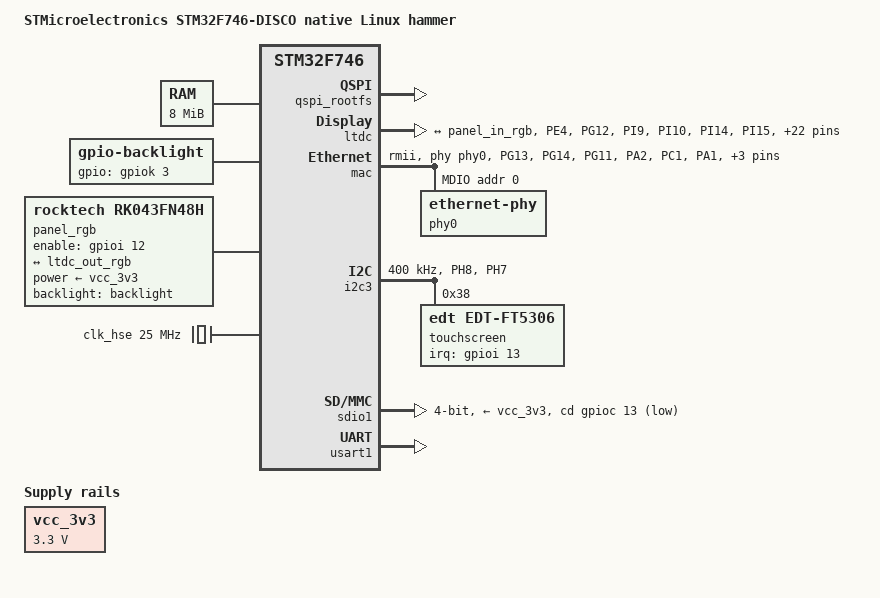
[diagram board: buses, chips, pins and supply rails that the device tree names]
// SPDX-License-Identifier: (GPL-2.0+ OR BSD-3-Clause)
/* Native-Linux hammer device tree for the STM32F746G-DISCO. */

/dts-v1/;
#include "stm32f746.dtsi"
#include "stm32f746-pinctrl.dtsi"
#include <dt-bindings/gpio/gpio.h>
#include <dt-bindings/input/input.h>
#include <dt-bindings/interrupt-controller/irq.h>

/ {
	model = "STMicroelectronics STM32F746-DISCO native Linux hammer";
	compatible = "st,stm32f746-disco", "st,stm32f746";

	chosen {
		stdout-path = "serial0:115200n8";
	};

	memory@c0000000 {
		device_type = "memory";
		reg = <0xc0000000 0x00800000>;
	};

	reserved-memory {
		#address-cells = <1>;
		#size-cells = <1>;
		ranges;

		/*
		 * DRM fbdev consumes two RGB565 scanout buffers from the default
		 * coherent pool.  A power-of-two-aligned 1 MiB pool leaves an
		 * MPU-friendly 7 MiB normal-RAM span while providing space for stmmac
		 * descriptor rings and other coherent allocations.
		 */
		dma_pool: dma-pool@c0700000 {
			compatible = "shared-dma-pool";
			reg = <0xc0700000 0x00100000>;
			no-map;
			linux,dma-default;
		};
	};

	aliases {
		serial0 = &usart1;
		ethernet0 = &mac;
	};

	vcc_3v3: regulator-vcc-3v3 {
		compatible = "regulator-fixed";
		regulator-name = "vcc_3v3";
		regulator-min-microvolt = <3300000>;
		regulator-max-microvolt = <3300000>;
		regulator-always-on;
	};

	backlight: backlight {
		compatible = "gpio-backlight";
		gpios = <&gpiok 3 GPIO_ACTIVE_HIGH>;
		default-on;
	};

	panel_rgb: panel-rgb {
		compatible = "rocktech,rk043fn48h";
		power-supply = <&vcc_3v3>;
		backlight = <&backlight>;
		enable-gpios = <&gpioi 12 GPIO_ACTIVE_HIGH>;

		port {
			panel_in_rgb: endpoint {
				remote-endpoint = <&ltdc_out_rgb>;
			};
		};
	};

	soc {
		qspi_rootfs: rom@90800000 {
			compatible = "mtd-rom";
			reg = <0x90800000 0x00400000>;
			bank-width = <1>;
			linux,mtd-name = "rootfs";
			no-unaligned-direct-access;
		};

		ltdc: display-controller@40016800 {
			compatible = "st,stm32-ltdc";
			reg = <0x40016800 0x200>;
			interrupts = <88>, <89>;
			resets = <&rcc STM32F7_APB2_RESET(LTDC)>;
			clocks = <&rcc 1 CLK_LCD>;
			clock-names = "lcd";
			status = "disabled";
		};

		mac: ethernet@40028000 {
			compatible = "st,stm32-dwmac", "snps,dwmac-3.50a";
			reg = <0x40028000 0x8000>;
			reg-names = "stmmaceth";
			/* The STM32F7 NVIC wake line cannot be shared by stmmac. */
			interrupts = <61>;
			interrupt-names = "macirq";
			clocks = <&rcc 0 STM32F7_AHB1_CLOCK(ETHMAC)>,
				 <&rcc 0 STM32F7_AHB1_CLOCK(ETHMACTX)>,
				 <&rcc 0 STM32F7_AHB1_CLOCK(ETHMACRX)>;
			clock-names = "stmmaceth", "mac-clk-tx", "mac-clk-rx";
			st,syscon = <&syscfg 0x4>;
			snps,pbl = <8>;
			snps,mixed-burst;
			pinctrl-0 = <&ethernet_rmii_pins_a>;
			pinctrl-names = "default";
			phy-mode = "rmii";
			phy-handle = <&phy0>;
			status = "okay";

			mdio {
				#address-cells = <1>;
				#size-cells = <0>;
				compatible = "snps,dwmac-mdio";

				phy0: ethernet-phy@0 {
					reg = <0>;
				};
			};
		};
	};
};

&clk_hse {
	clock-frequency = <25000000>;
};

&pinctrl {
	i2c3_pins_a: i2c3-0 {
		pins {
			pinmux = <STM32_PINMUX('H', 8, AF4)>, /* I2C3 SDA */
				 <STM32_PINMUX('H', 7, AF4)>; /* I2C3 SCL */
			bias-disable;
			drive-open-drain;
			slew-rate = <0>;
		};
	};

	ethernet_rmii_pins_a: ethernet-rmii-0 {
		pins {
			pinmux = <STM32_PINMUX('G', 13, AF11)>, /* RMII TXD0 */
				 <STM32_PINMUX('G', 14, AF11)>, /* RMII TXD1 */
				 <STM32_PINMUX('G', 11, AF11)>, /* RMII TX EN */
				 <STM32_PINMUX('A', 2, AF11)>,  /* MDIO */
				 <STM32_PINMUX('C', 1, AF11)>,  /* MDC */
				 <STM32_PINMUX('A', 1, AF11)>,  /* RMII REF CLK */
				 <STM32_PINMUX('A', 7, AF11)>,  /* RMII CRS DV */
				 <STM32_PINMUX('C', 4, AF11)>,  /* RMII RXD0 */
				 <STM32_PINMUX('C', 5, AF11)>;  /* RMII RXD1 */
			slew-rate = <2>;
		};
	};

	ltdc_pins_a: ltdc-0 {
		pins {
			pinmux = <STM32_PINMUX('E', 4, AF14)>,
				 <STM32_PINMUX('G', 12, AF9)>,
				 <STM32_PINMUX('I', 9, AF14)>,
				 <STM32_PINMUX('I', 10, AF14)>,
				 <STM32_PINMUX('I', 14, AF14)>,
				 <STM32_PINMUX('I', 15, AF14)>,
				 <STM32_PINMUX('J', 0, AF14)>,
				 <STM32_PINMUX('J', 1, AF14)>,
				 <STM32_PINMUX('J', 2, AF14)>,
				 <STM32_PINMUX('J', 3, AF14)>,
				 <STM32_PINMUX('J', 4, AF14)>,
				 <STM32_PINMUX('J', 5, AF14)>,
				 <STM32_PINMUX('J', 6, AF14)>,
				 <STM32_PINMUX('J', 7, AF14)>,
				 <STM32_PINMUX('J', 8, AF14)>,
				 <STM32_PINMUX('J', 9, AF14)>,
				 <STM32_PINMUX('J', 10, AF14)>,
				 <STM32_PINMUX('J', 11, AF14)>,
				 <STM32_PINMUX('J', 13, AF14)>,
				 <STM32_PINMUX('J', 14, AF14)>,
				 <STM32_PINMUX('J', 15, AF14)>,
				 <STM32_PINMUX('K', 0, AF14)>,
				 <STM32_PINMUX('K', 1, AF14)>,
				 <STM32_PINMUX('K', 2, AF14)>,
				 <STM32_PINMUX('K', 4, AF14)>,
				 <STM32_PINMUX('K', 5, AF14)>,
				 <STM32_PINMUX('K', 6, AF14)>,
				 <STM32_PINMUX('K', 7, AF14)>;
			slew-rate = <2>;
		};
	};
};

&i2c3 {
	pinctrl-0 = <&i2c3_pins_a>;
	pinctrl-names = "default";
	clock-frequency = <400000>;
	status = "okay";

	touchscreen@38 {
		compatible = "edt,edt-ft5306";
		reg = <0x38>;
		interrupt-parent = <&gpioi>;
		interrupts = <13 IRQ_TYPE_EDGE_FALLING>;
		touchscreen-size-x = <480>;
		touchscreen-size-y = <272>;
	};
};

&ltdc {
	pinctrl-0 = <&ltdc_pins_a>;
	pinctrl-names = "default";
	status = "okay";

	port {
		ltdc_out_rgb: endpoint {
			remote-endpoint = <&panel_in_rgb>;
		};
	};
};

&sdio1 {
	status = "okay";
	vmmc-supply = <&vcc_3v3>;
	/* Match the proven LXP + oveRTOS hammer runs' 2 MHz SD bus. */
	max-frequency = <2000000>;
	cd-gpios = <&gpioc 13 GPIO_ACTIVE_LOW>;
	pinctrl-names = "default", "opendrain";
	pinctrl-0 = <&sdio_pins_a>;
	pinctrl-1 = <&sdio_pins_od_a>;
	bus-width = <4>;
};

&usart1 {
	pinctrl-0 = <&usart1_pins_b>;
	pinctrl-names = "default";
	status = "okay";
};
